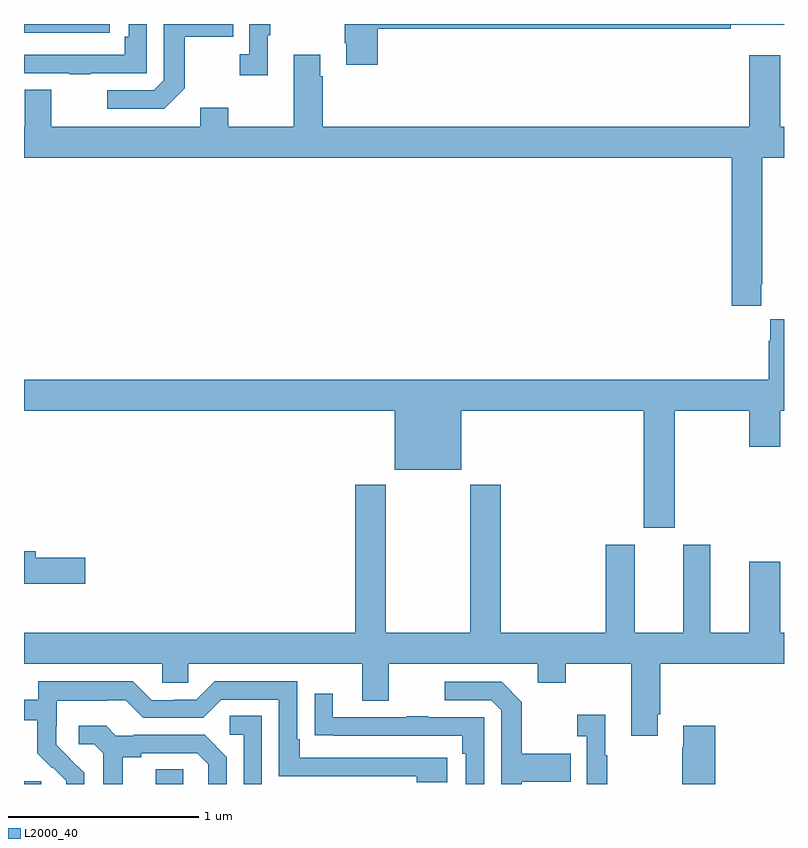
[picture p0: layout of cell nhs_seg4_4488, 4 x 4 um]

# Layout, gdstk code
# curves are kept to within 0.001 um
import gdstk
lib = gdstk.Library(unit=1e-6, precision=1e-09)
def R(c, l, rs):  # rectangles x0, y0, x1, y1
    for r in rs: c.add(gdstk.rectangle(r[:2], r[2:], *l))
def P(c, l, *ps):  # polygons
    for p in ps: c.add(gdstk.Polygon(p, *l))
L2000_40 = (2000, 40)

nhs_seg4_4488 = lib.new_cell('nhs_seg4_4488')
R(nhs_seg4_4488, L2000_40, [(353,750.9,353.092,750.915), (353.693,750.9,353.838,750.977), (353,754.854,353.452,754.9)])
P(nhs_seg4_4488, L2000_40, [(353.845,754.561),(353.845,754.834),(354.101,754.834),(354.101,754.9),(353.736,754.9),(353.736,754.605),(353.682,754.551),(353.439,754.551),(353.439,754.455),(353.739,754.455)],
  [(354.863,754.876),(356.72,754.876),(356.72,754.895),(357,754.895),(357,754.9),(354.688,754.9),(354.688,754.798),(354.695,754.798),(354.695,754.686),(354.863,754.686)],
  [(353.351,754.641),(353.646,754.641),(353.646,754.9),(353.55,754.9),(353.55,754.834),(353.53,754.834),(353.53,754.737),(353,754.737),(353,754.641),(353.239,754.641),(353.239,754.636),(353.351,754.636)],
  [(354.283,754.841),(354.295,754.841),(354.295,754.9),(354.186,754.9),(354.186,754.742),(354.135,754.742),(354.135,754.629),(354.283,754.629)],
  [(354.559,754.625),(354.559,754.738),(354.419,754.738),(354.419,754.36),(354.075,754.36),(354.075,754.459),(353.927,754.459),(353.927,754.36),(353.143,754.36),(353.143,754.555),(353.003,754.555),(353.003,754.36),(353,754.36),(353,754.196),(356.726,754.196),(356.726,753.417),(356.881,753.417),(356.881,753.529),(356.886,753.529),(356.886,754.196),(357,754.196),(357,754.36),(356.98,754.36),(356.98,754.735),(356.816,754.735),(356.816,754.36),(354.572,754.36),(354.572,754.625)],
  [(356.425,752.864),(356.816,752.864),(356.816,752.676),(356.98,752.676),(356.98,752.864),(357,752.864),(357,753.346),(356.927,753.346),(356.927,753.233),(356.921,753.233),(356.921,753.028),(353,753.028),(353,752.864),(354.95,752.864),(354.95,752.555),(355.3,752.555),(355.3,752.864),(356.261,752.864),(356.261,752.25),(356.425,752.25)],
  [(356.335,751.267),(356.348,751.267),(356.348,751.532),(357,751.532),(357,751.696),(356.98,751.696),(356.98,752.071),(356.816,752.071),(356.816,751.696),(356.611,751.696),(356.611,752.158),(356.471,752.158),(356.471,751.696),(356.215,751.696),(356.215,752.158),(356.063,752.158),(356.063,751.696),(355.508,751.696),(355.508,752.476),(355.348,752.476),(355.348,751.696),(354.903,751.696),(354.903,752.476),(354.743,752.476),(354.743,751.696),(353,751.696),(353,751.532),(353.727,751.532),(353.727,751.434),(353.865,751.434),(353.865,751.532),(354.779,751.532),(354.779,751.338),(354.919,751.338),(354.919,751.532),(355.703,751.532),(355.703,751.433),(355.851,751.433),(355.851,751.532),(356.195,751.532),(356.195,751.155),(356.335,751.155)],
  [(353.323,752.09),(353.062,752.09),(353.062,752.126),(353,752.126),(353,751.955),(353.323,751.955)],
  [(353.316,750.958),(353.17,751.106),(353.17,751.203),(353.172,751.203),(353.172,751.337),(353.435,751.337),(353.435,751.341),(353.535,751.341),(353.628,751.248),(353.943,751.248),(354.039,751.344),(354.342,751.344),(354.342,750.942),(355.067,750.942),(355.067,750.908),(355.228,750.908),(355.228,751.038),(354.451,751.038),(354.451,751.135),(354.438,751.135),(354.438,751.44),(354.003,751.44),(353.907,751.344),(353.789,751.344),(353.789,751.341),(353.673,751.341),(353.573,751.441),(353.076,751.441),(353.076,751.344),(353,751.344),(353,751.236),(353.071,751.236),(353.071,751.061),(353.148,750.984),(353.151,750.987),(353.222,750.917),(353.222,750.9),(353.316,750.9)],
  [(355.621,750.911),(355.877,750.911),(355.877,751.059),(355.621,751.059),(355.621,751.331),(355.515,751.437),(355.215,751.437),(355.215,751.341),(355.458,751.341),(355.512,751.287),(355.512,750.9),(355.621,750.9)],
  [(355.422,751.251),(355.127,751.251),(355.127,751.256),(355.015,751.256),(355.015,751.251),(354.625,751.251),(354.625,751.375),(354.529,751.375),(354.529,751.156),(354.631,751.156),(354.631,751.155),(355.306,751.155),(355.306,751.058),(355.326,751.058),(355.326,750.9),(355.422,750.9)],
  [(356.071,751.051),(356.059,751.051),(356.059,751.264),(355.911,751.264),(355.911,751.151),(355.962,751.151),(355.962,750.9),(356.071,750.9)],
  [(354.252,751.259),(354.084,751.259),(354.084,751.158),(354.156,751.158),(354.156,750.9),(354.252,750.9)],
  [(353.521,751.04),(353.617,751.04),(353.617,751.062),(353.912,751.062),(353.969,751.005),(353.969,750.9),(354.066,750.9),(354.066,751.042),(353.95,751.158),(353.578,751.158),(353.578,751.155),(353.484,751.155),(353.432,751.207),(353.289,751.207),(353.289,751.11),(353.37,751.11),(353.417,751.063),(353.417,750.9),(353.521,750.9)],
  [(356.639,751.207),(356.471,751.207),(356.471,751.094),(356.464,751.094),(356.464,750.9),(356.639,750.9)])

lib.write_gds('nhs_seg4_4488.gds')
